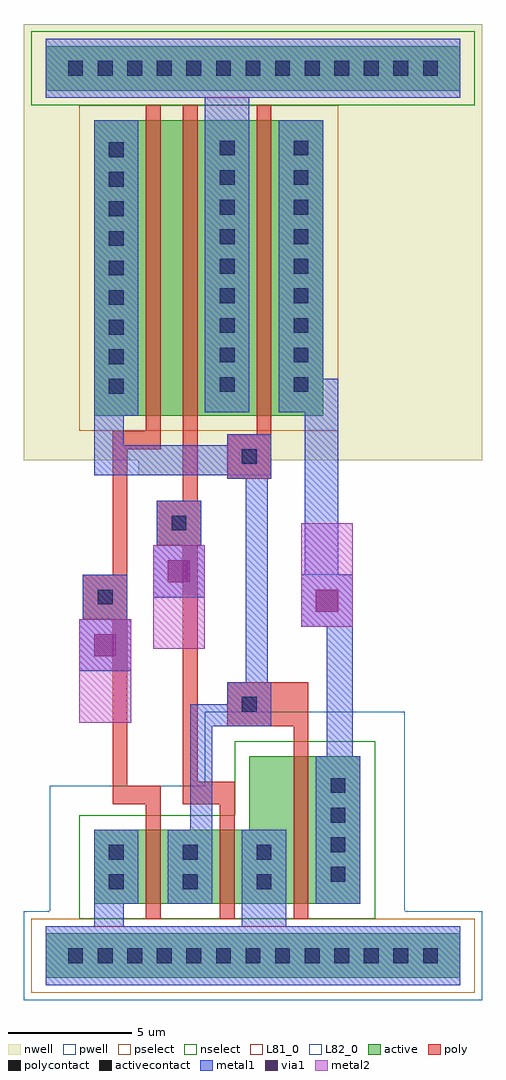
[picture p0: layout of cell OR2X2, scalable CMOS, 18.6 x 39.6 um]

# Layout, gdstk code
import gdstk
lib = gdstk.Library(unit=1e-6, precision=1e-09)
def R(c, l, rs):  # rectangles x0, y0, x1, y1
    for r in rs: c.add(gdstk.rectangle(r[:2], r[2:], *l))
def A(c, l, x, y, w, h, nx, ny, dx, dy):  # array of equal rectangles
    R(c, l, [(x+i*dx, y+j*dy, x+i*dx+w, y+j*dy+h) for i in range(nx) for j in range(ny)])
pwell = (41, 0)
nwell = (42, 0)
active = (43, 0)
pselect = (44, 0)
nselect = (45, 0)
poly = (46, 0)
polycontact = (47, 0)
activecontact = (48, 0)
metal1 = (49, 0)
via1 = (50, 0)
metal2 = (51, 0)
L81_0 = (81, 0)
L82_0 = (82, 0)

or2x2 = lib.new_cell('OR2X2')
R(or2x2, pwell, [(-1.8,-1.8,16.8,1.8), (-0.75,1.8,13.65,6.9), (5.55,6.9,13.65,9.9)])
R(or2x2, nwell, [(2.85,19.5,8.25,20.1), (-1.8,20.1,16.8,37.8)])
R(or2x2, active, [(-0.9,-0.9,15.9,0.9), (1.05,2.1,11.85,5.1), (7.35,5.1,11.85,8.1), (1.05,21.9,10.35,33.9), (-0.9,35.1,15.9,36.9)])
R(or2x2, pselect, [(-1.5,-1.5,16.5,1.5), (0.45,21.3,10.95,34.5)])
R(or2x2, nselect, [(0.45,1.5,12.45,5.7), (6.75,5.7,12.45,8.7), (-1.5,34.5,16.5,37.5)])
R(or2x2, poly, [(3.15,1.5,3.75,6.15), (6.15,1.5,6.75,6.15), (9.15,1.5,9.75,9.3), (1.8,6.15,3.75,6.9), (4.65,6.15,6.75,7.05), (1.8,6.9,2.4,13.65), (4.65,7.05,5.25,16.65), (6.45,9.3,9.75,11.1), (0.6,13.65,2.4,15.45), (1.8,15.45,2.4,20.55), (3.6,16.65,5.4,18.45), (4.65,18.45,5.25,34.5), (6.45,19.35,8.25,21.15), (1.8,20.55,3.75,21.3), (7.65,21.15,8.25,34.5), (3.15,21.3,3.75,34.5)])
R(or2x2, polycontact, [(7.05,9.9,7.65,10.5), (1.2,14.25,1.8,14.85), (4.2,17.25,4.8,17.85), (7.05,19.95,7.65,20.55)])
A(or2x2, activecontact, 0, -0.3, 0.6, 0.6, 13, 2, 1.2, 36)
A(or2x2, activecontact, 1.65, 2.7, 0.6, 0.6, 3, 2, 3, 1.2)
A(or2x2, activecontact, 10.65, 3, 0.6, 0.6, 1, 4, 0, 1.2)
A(or2x2, activecontact, 1.65, 22.8, 0.6, 0.6, 1, 9, 0, 1.2)
A(or2x2, activecontact, 6.15, 22.87, 0.6, 0.6, 1, 9, 0, 1.2)
A(or2x2, activecontact, 9.15, 22.87, 0.6, 0.6, 1, 9, 0, 1.2)
R(or2x2, metal1, [(-0.9,-1.2,15.9,1.2), (1.05,1.2,2.25,2.1), (7.05,1.2,8.85,5.1), (1.05,2.1,2.85,5.1), (4.05,2.1,5.85,5.1), (10.05,2.1,11.85,8.1), (4.95,5.1,5.85,9.3), (10.5,8.1,11.55,13.35), (4.95,9.3,8.25,10.2), (6.45,10.2,8.25,11.1), (7.2,11.1,8.1,19.35), (0.45,11.55,2.55,13.65), (9.45,13.35,11.55,15.45), (0.6,13.65,2.4,15.45), (3.45,14.55,5.55,16.65), (9.6,15.45,10.95,22.05), (3.6,16.65,5.4,18.45), (6.45,19.35,8.25,19.5), (1.05,19.5,8.25,20.7), (1.05,20.7,2.25,21.9), (6.45,20.7,8.25,21.15), (1.05,21.9,2.85,33.9), (5.55,22.05,7.35,34.8), (8.55,22.05,10.95,23.4), (8.55,23.4,10.35,33.9), (-0.9,34.8,15.9,37.2)])
R(or2x2, via1, [(1.05,12.15,1.95,13.05), (10.05,13.95,10.95,14.85), (4.05,15.15,4.95,16.05)])
R(or2x2, metal2, [(0.45,9.45,2.55,13.65), (3.45,12.45,5.55,16.65), (9.45,13.35,11.55,17.55)])
R(or2x2, L81_0, [(-0.9,-1.2,15.9,1.2), (-0.9,34.8,15.9,37.2)])
R(or2x2, L82_0, [(0.45,9.45,2.55,11.55), (3.45,12.45,5.55,14.55), (9.45,15.45,11.55,17.55)])

lib.write_gds('OR2X2.gds')
